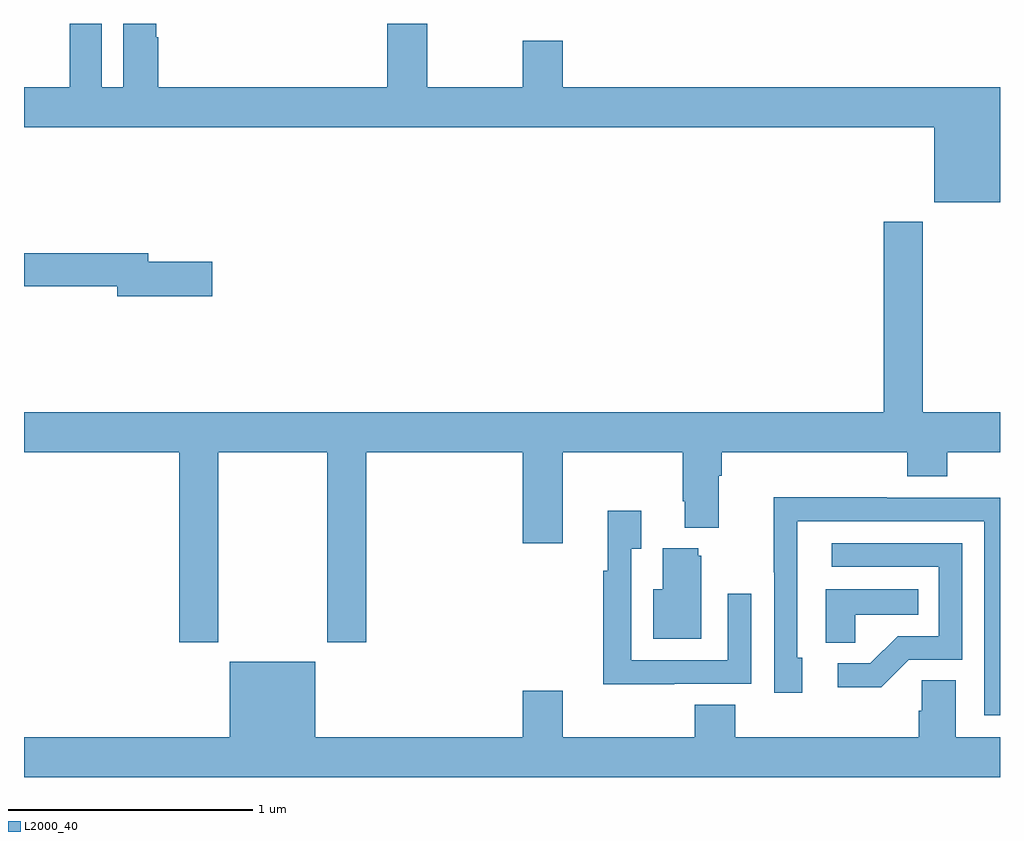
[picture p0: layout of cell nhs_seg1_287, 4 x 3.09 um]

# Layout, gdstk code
import gdstk
lib = gdstk.Library(unit=1e-6, precision=1e-09)
def P(c, l, *ps):  # polygons
    for p in ps: c.add(gdstk.Polygon(p, *l))
L2000_40 = (2000, 40)

nhs_seg1_287 = lib.new_cell('nhs_seg1_287')
P(nhs_seg1_287, L2000_40, [(130.73,507.467),(131,507.467),(131,507.94),(129.208,507.94),(129.208,508.129),(129.044,508.129),(129.044,507.94),(128.653,507.94),(128.653,508.199),(128.489,508.199),(128.489,507.94),(127.55,507.94),(127.55,508.145),(127.543,508.145),(127.543,508.199),(127.406,508.199),(127.406,507.94),(127.318,507.94),(127.318,508.199),(127.187,508.199),(127.187,507.94),(127,507.94),(127,507.776),(130.73,507.776)],
  [(127.797,506.444),(128.242,506.444),(128.242,505.665),(128.402,505.665),(128.402,506.444),(129.044,506.444),(129.044,506.07),(129.208,506.07),(129.208,506.444),(129.7,506.444),(129.7,506.242),(129.707,506.242),(129.707,506.135),(129.847,506.135),(129.847,506.348),(129.86,506.348),(129.86,506.444),(130.619,506.444),(130.619,506.345),(130.784,506.345),(130.784,506.444),(131,506.444),(131,506.608),(130.683,506.608),(130.683,507.388),(130.523,507.388),(130.523,506.608),(127,506.608),(127,506.444),(127.637,506.444),(127.637,505.665),(127.797,505.665)],
  [(127.771,507.224),(127.51,507.224),(127.51,507.26),(127,507.26),(127,507.124),(127.382,507.124),(127.382,507.082),(127.771,507.082)],
  [(131,506.256),(130.535,506.256),(130.535,506.258),(130.072,506.258),(130.072,505.951),(130.074,505.951),(130.074,505.458),(130.189,505.458),(130.189,505.602),(130.17,505.602),(130.17,506.16),(130.935,506.16),(130.935,505.365),(131,505.365)],
  [(129.665,505.494),(129.981,505.494),(129.981,505.864),(129.885,505.864),(129.885,505.59),(129.489,505.59),(129.489,506.047),(129.529,506.047),(129.529,506.203),(129.392,506.203),(129.392,505.958),(129.373,505.958),(129.373,505.493),(129.665,505.493)],
  [(130.626,505.593),(130.845,505.593),(130.845,506.07),(130.311,506.07),(130.311,505.974),(130.749,505.974),(130.749,505.689),(130.58,505.689),(130.469,505.578),(130.335,505.578),(130.335,505.481),(130.513,505.481)],
  [(129.775,506.019),(129.764,506.019),(129.764,506.05),(129.617,506.05),(129.617,505.882),(129.578,505.882),(129.578,505.679),(129.775,505.679)],
  [(130.407,505.778),(130.664,505.778),(130.664,505.882),(130.286,505.882),(130.286,505.663),(130.407,505.663)],
  [(131,505.276),(130.819,505.276),(130.819,505.508),(130.68,505.508),(130.68,505.385),(130.667,505.385),(130.667,505.276),(129.914,505.276),(129.914,505.409),(129.749,505.409),(129.749,505.276),(129.208,505.276),(129.208,505.465),(129.044,505.465),(129.044,505.276),(128.194,505.276),(128.194,505.585),(127.844,505.585),(127.844,505.276),(127,505.276),(127,505.112),(131,505.112)])

lib.write_gds('nhs_seg1_287.gds')
